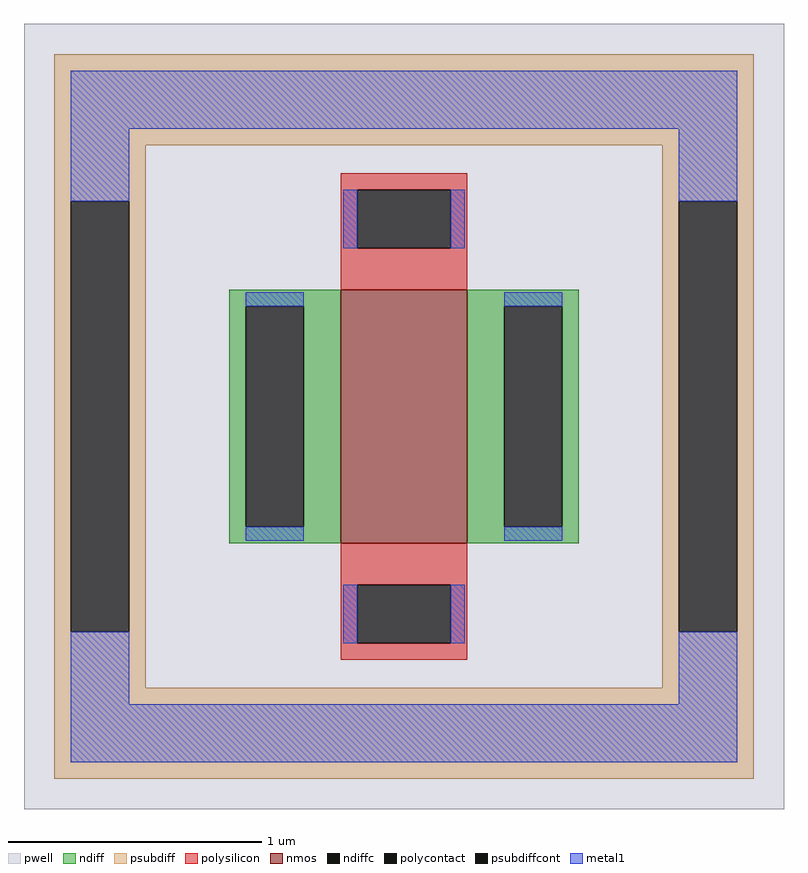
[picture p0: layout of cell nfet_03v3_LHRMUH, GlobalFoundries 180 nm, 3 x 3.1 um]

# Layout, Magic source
magic
tech gf180mcuD
magscale 1 10
<< pwell >>
rect -300 -310 300 310
<< nmos >>
rect -50 -100 50 100
<< ndiff >>
rect -138 87 -50 100
rect -138 -87 -125 87
rect -79 -87 -50 87
rect -138 -100 -50 -87
rect 50 87 138 100
rect 50 -87 79 87
rect 125 -87 138 87
rect 50 -100 138 -87
<< ndiffc >>
rect -125 -87 -79 87
rect 79 -87 125 87
<< psubdiff >>
rect -276 214 276 286
rect -276 170 -204 214
rect -276 -170 -263 170
rect -217 -170 -204 170
rect 204 170 276 214
rect -276 -214 -204 -170
rect 204 -170 217 170
rect 263 -170 276 170
rect 204 -214 276 -170
rect -276 -286 276 -214
<< psubdiffcont >>
rect -263 -170 -217 170
rect 217 -170 263 170
<< polysilicon >>
rect -50 179 50 192
rect -50 133 -37 179
rect 37 133 50 179
rect -50 100 50 133
rect -50 -133 50 -100
rect -50 -179 -37 -133
rect 37 -179 50 -133
rect -50 -192 50 -179
<< polycontact >>
rect -37 133 37 179
rect -37 -179 37 -133
<< metal1 >>
rect -263 227 263 273
rect -263 170 -217 227
rect -48 133 -37 179
rect 37 133 48 179
rect 217 170 263 227
rect -125 87 -79 98
rect -125 -98 -79 -87
rect 79 87 125 98
rect 79 -98 125 -87
rect -263 -227 -217 -170
rect -48 -179 -37 -133
rect 37 -179 48 -133
rect 217 -227 263 -170
rect -263 -273 263 -227
<< properties >>
string FIXED_BBOX -240 -250 240 250
string gencell nfet_03v3
string library gf180mcu
string parameters w 1.0 l 0.5 m 1 nf 1 diffcov 100 polycov 100 guard 1 glc 1 grc 1 gtc 0 gbc 0 tbcov 100 rlcov 100 topc 1 botc 1 poverlap 0 doverlap 1 lmin 0.28 wmin 0.22 class mosfet full_metal 1 compatible {nfet_03v3 nfet_05v0 nfet_06v0 nfet_06v0_nvt} ad int((nf+1)/2)*W/nf*0.18u as int((nf+2)/2)*W/nf*0.18u pd 2*int((nf+1)/2)*(W/nf+0.18u) ps 2*int((nf+2)/2)*(W/nf+0.18u) nrd 0.18u/W nrs 0.18u/W sa 0 sb 0 sd 0
<< end >>
